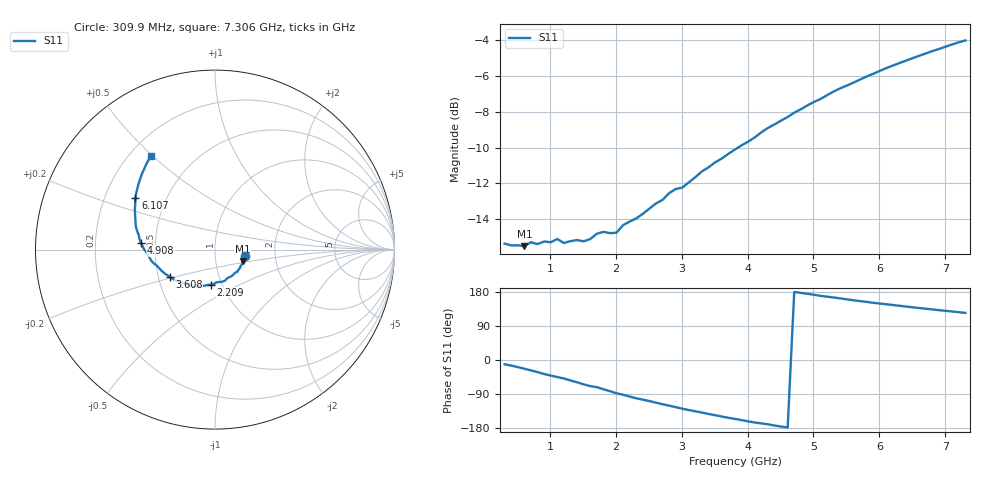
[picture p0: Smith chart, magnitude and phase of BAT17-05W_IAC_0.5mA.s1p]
! Infineon Technologies  Discrete & RF Semiconductors
! BAT17-05W
! IAC = 0.5 mA
! One-Port S-Parameters
# Hz  S  MA  R  50
!f  S11
!Hz  Mag  Ang
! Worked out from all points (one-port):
!   71 points, 309.9 MHz to 7.306 GHz, reference 50 ohm
!   lowest |S11| = -15.5 dB at 609.7 MHz (marker M1), VSWR 1.40, Z = 67.5 - j9.1 ohm
!   |S11| at or under -10 dB: start of sweep to 3.854 GHz
!   S11 on the Smith chart (normalised r, x): 309.9 MHz: 1.40, -0.10; 2.209 GHz: 0.89, -0.36; 3.608 GHz: 0.57, -0.19; 4.908 GHz: 0.41, +0.04; 6.107 GHz: 0.33, +0.26; 7.306 GHz: 0.29, +0.49
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3.0985e8  0.1704 -11.3
6.097e8  0.1676 -23.0
7.0965e8  0.1719 -27.4
8.096e8  0.1698 -31.9
1.10945e9  0.1755 -45.0
1.2094e9  0.171 -48.7
1.4093e9  0.1743 -58.7
1.50925e9  0.1729 -64.3
1.70915e9  0.1815 -71.5
1.8091e9  0.1838 -77.2
2.009e9  0.1827 -87.9
2.10895e9  0.192 -91.8
2.2089e9  0.1963 -96.4
2.70865e9  0.2259 -116.7
2.8086e9  0.2358 -120.5
3.0085e9  0.2444 -128.5
3.30835e9  0.2715 -138.7
3.6082e9  0.2947 -149.2
3.8081e9  0.3124 -155.5
4.30785e9  0.3589 -169.6
4.70765e9  0.396 179.6
4.90755e9  0.415 174.8
5.30735e9  0.454 164.9
5.6072e9  0.4807 157.6
6.10695e9  0.5278 147.1
6.50675e9  0.5628 139.1
6.8066e9  0.5891 133.4
7.30635e9  0.6306 124.3
